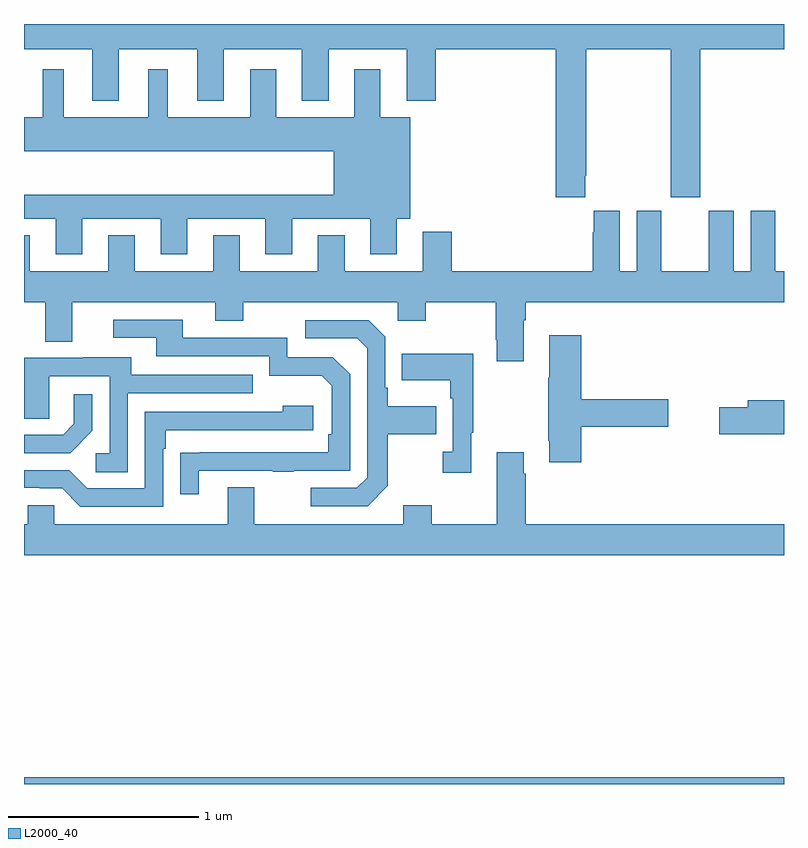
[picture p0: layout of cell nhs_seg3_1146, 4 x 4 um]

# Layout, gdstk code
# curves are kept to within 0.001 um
import gdstk
lib = gdstk.Library(unit=1e-6, precision=1e-09)
def R(c, l, rs):  # rectangles x0, y0, x1, y1
    for r in rs: c.add(gdstk.rectangle(r[:2], r[2:], *l))
def P(c, l, *ps):  # polygons
    for p in ps: c.add(gdstk.Polygon(p, *l))
L2000_40 = (2000, 40)

nhs_seg3_1146 = lib.new_cell('nhs_seg3_1146')
R(nhs_seg3_1146, L2000_40, [(171,678.4,175,678.436)])
P(nhs_seg3_1146, L2000_40, [(173.953,681.601),(173.958,681.601),(173.958,682.268),(174.403,682.268),(174.403,681.489),(174.558,681.489),(174.558,682.268),(175,682.268),(175,682.4),(171,682.4),(171,682.268),(171.359,682.268),(171.359,681.995),(171.499,681.995),(171.499,682.268),(171.911,682.268),(171.911,681.995),(172.051,681.995),(172.051,682.268),(172.463,682.268),(172.463,681.995),(172.603,681.995),(172.603,682.268),(173.015,682.268),(173.015,681.995),(173.168,681.995),(173.168,682.268),(173.798,682.268),(173.798,681.489),(173.953,681.489)],
  [(171.307,681.374),(171.719,681.374),(171.719,681.189),(171.859,681.189),(171.859,681.374),(172.271,681.374),(172.271,681.189),(172.411,681.189),(172.411,681.374),(172.823,681.374),(172.823,681.189),(172.963,681.189),(172.963,681.374),(173.032,681.374),(173.032,681.91),(172.876,681.91),(172.876,682.162),(172.739,682.162),(172.739,681.91),(172.327,681.91),(172.327,682.162),(172.19,682.162),(172.19,681.91),(171.757,681.91),(171.757,682.162),(171.653,682.162),(171.653,681.91),(171.208,681.91),(171.208,682.162),(171.098,682.162),(171.098,681.91),(171,681.91),(171,681.731),(172.631,681.731),(172.631,681.502),(171,681.502),(171,681.374),(171.167,681.374),(171.167,681.189),(171.307,681.189)],
  [(173.629,680.84),(173.642,680.84),(173.642,680.936),(175,680.936),(175,681.1),(174.955,681.1),(174.955,681.418),(174.824,681.418),(174.824,681.1),(174.736,681.1),(174.736,681.418),(174.605,681.418),(174.605,681.1),(174.355,681.1),(174.355,681.418),(174.224,681.418),(174.224,681.1),(174.136,681.1),(174.136,681.418),(173.999,681.418),(173.999,681.305),(173.993,681.305),(173.993,681.1),(173.252,681.1),(173.252,681.307),(173.099,681.307),(173.099,681.1),(172.687,681.1),(172.687,681.289),(172.547,681.289),(172.547,681.1),(172.135,681.1),(172.135,681.289),(171.995,681.289),(171.995,681.1),(171.583,681.1),(171.583,681.289),(171.443,681.289),(171.443,681.1),(171.031,681.1),(171.031,681.289),(171,681.289),(171,680.936),(171.113,680.936),(171.113,680.728),(171.253,680.728),(171.253,680.936),(172.007,680.936),(172.007,680.837),(172.155,680.837),(172.155,680.936),(172.968,680.936),(172.968,680.837),(173.115,680.837),(173.115,680.936),(173.482,680.936),(173.482,680.737),(173.489,680.737),(173.489,680.625),(173.629,680.625)],
  [(171.919,680.049),(172.309,680.049),(172.309,680.044),(172.421,680.044),(172.421,680.049),(172.716,680.049),(172.716,680.556),(172.626,680.646),(172.386,680.646),(172.386,680.748),(171.835,680.748),(171.835,680.844),(171.471,680.844),(171.471,680.748),(171.695,680.748),(171.695,680.652),(172.29,680.652),(172.29,680.549),(172.567,680.549),(172.62,680.496),(172.62,680.242),(172.6,680.242),(172.6,680.145),(171.823,680.144),(171.823,679.926),(171.919,679.926)],
  [(172.915,679.969),(172.915,680.242),(173.171,680.242),(173.171,680.389),(172.915,680.389),(172.915,680.485),(172.902,680.485),(172.902,680.754),(172.815,680.841),(172.479,680.841),(172.479,680.745),(172.755,680.745),(172.806,680.694),(172.806,680.013),(172.752,679.959),(172.509,679.959),(172.509,679.863),(172.809,679.863)],
  [(173.933,680.279),(174.391,680.279),(174.391,680.426),(173.933,680.426),(173.933,680.761),(173.765,680.761),(173.765,680.537),(173.758,680.537),(173.758,680.206),(173.765,680.206),(173.765,680.094),(173.933,680.094)],
  [(173.353,680.249),(173.365,680.249),(173.365,680.665),(172.987,680.665),(172.987,680.525),(173.244,680.525),(173.244,680.429),(173.256,680.429),(173.256,680.15),(173.205,680.15),(173.205,680.037),(173.353,680.037)],
  [(171.546,680.457),(172.205,680.457),(172.205,680.553),(171.565,680.553),(171.565,680.647),(171.311,680.647),(171.311,680.643),(171,680.643),(171,680.323),(171.132,680.323),(171.132,680.547),(171.45,680.547),(171.45,680.142),(171.378,680.142),(171.378,680.041),(171.546,680.041)],
  [(171.36,680.258),(171.36,680.452),(171.263,680.452),(171.263,680.295),(171.206,680.238),(171,680.238),(171,680.142),(171.244,680.142)],
  [(175,680.42),(174.809,680.42),(174.809,680.384),(174.66,680.384),(174.66,680.242),(175,680.242)],
  [(171.732,680.165),(171.745,680.165),(171.745,680.262),(172.522,680.262),(172.522,680.392),(172.361,680.392),(172.361,680.358),(171.636,680.358),(171.636,679.956),(171.333,679.956),(171.237,680.052),(171,680.052),(171,679.959),(171.083,679.959),(171.083,679.956),(171.201,679.956),(171.297,679.86),(171.732,679.86)],
  [(175,679.768),(173.642,679.768),(173.642,680.033),(173.629,680.033),(173.629,680.146),(173.489,680.146),(173.489,679.768),(173.145,679.768),(173.145,679.867),(172.997,679.867),(172.997,679.768),(172.213,679.768),(172.213,679.963),(172.073,679.963),(172.073,679.768),(171.159,679.768),(171.159,679.866),(171.021,679.866),(171.021,679.768),(171,679.768),(171,679.604),(175,679.604)])

lib.write_gds('nhs_seg3_1146.gds')
